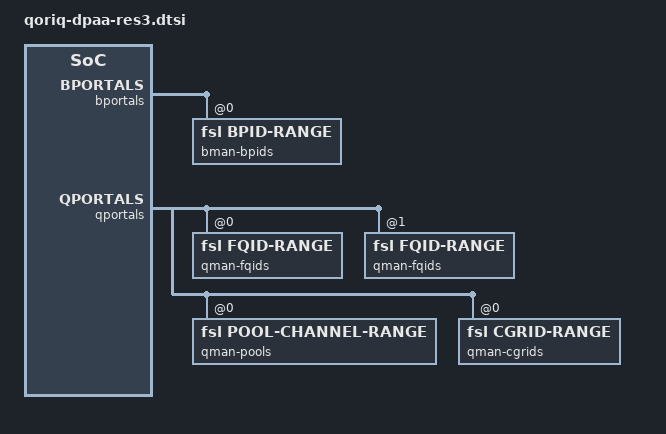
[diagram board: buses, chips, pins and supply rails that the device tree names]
/*
 * QorIQ DPAA resources device tree stub [ FQIDs, BPIDs ]
 *
 * Copyright 2011-2012 Freescale Semiconductor Inc.
 *
 * Redistribution and use in source and binary forms, with or without
 * modification, are permitted provided that the following conditions are met:
 *     * Redistributions of source code must retain the above copyright
 *	 notice, this list of conditions and the following disclaimer.
 *     * Redistributions in binary form must reproduce the above copyright
 *	 notice, this list of conditions and the following disclaimer in the
 *	 documentation and/or other materials provided with the distribution.
 *     * Neither the name of Freescale Semiconductor nor the
 *	 names of its contributors may be used to endorse or promote products
 *	 derived from this software without specific prior written permission.
 *
 *
 * ALTERNATIVELY, this software may be distributed under the terms of the
 * GNU General Public License ("GPL") as published by the Free Software
 * Foundation, either version 2 of that License or (at your option) any
 * later version.
 *
 * THIS SOFTWARE IS PROVIDED BY Freescale Semiconductor ``AS IS'' AND ANY
 * EXPRESS OR IMPLIED WARRANTIES, INCLUDING, BUT NOT LIMITED TO, THE IMPLIED
 * WARRANTIES OF MERCHANTABILITY AND FITNESS FOR A PARTICULAR PURPOSE ARE
 * DISCLAIMED. IN NO EVENT SHALL Freescale Semiconductor BE LIABLE FOR ANY
 * DIRECT, INDIRECT, INCIDENTAL, SPECIAL, EXEMPLARY, OR CONSEQUENTIAL DAMAGES
 * (INCLUDING, BUT NOT LIMITED TO, PROCUREMENT OF SUBSTITUTE GOODS OR SERVICES;
 * LOSS OF USE, DATA, OR PROFITS; OR BUSINESS INTERRUPTION) HOWEVER CAUSED AND
 * ON ANY THEORY OF LIABILITY, WHETHER IN CONTRACT, STRICT LIABILITY, OR TORT
 * (INCLUDING NEGLIGENCE OR OTHERWISE) ARISING IN ANY WAY OUT OF THE USE OF THIS
 * SOFTWARE, EVEN IF ADVISED OF THE POSSIBILITY OF SUCH DAMAGE.
 */

/* These stubs are required to alloc qbman drivers to determine what ranges of
 * resources are available for dynamic allocation, primarily because there are
 * some legacy "a priori" assumptions in certain subsystems (eg. networking)
 * that certain resources are reserved for their use. When those drivers (and in
 * some cases, their corresponding device-tree nodes) are updated to dynamically
 * allocate their resources, then *all* resources can be managed by the
 * allocators and there may be no further need to define these stubs.
 *
 * A couple of qualifiers to the above statement though:
 *
 * - Some resource ranges are hardware-specific, rather than being defined by
 *   software memory allocation choices. Eg. the number of available BPIDs is
 *   baked into silicon and so will probably always need to be expressed in the
 *   device-tree, though in that case it will express all BPIDs, not just those
 *   available for dynamic allocation.
 *
 * - Even for memory-backed resources that are software determined (FQIDs), this
 *   information may only be configured and available on the control-plane
 *   partition that manages the device, so in AMP or hypervised scenarios there
 *   may still be need to a way to provide allocation ranges. Ie. for O/S
 *   instances that don't know how many resources are available to hardware, and
 *   possibly even for O/S instances that do know how many are available but
 *   that should not "own" all of them.
 */

&bportals {
	bman-bpids@0 {
		compatible = "fsl,bpid-range";
		fsl,bpid-range = <32 32>;
	};
};

&qportals {
	qman-fqids@0 {
		compatible = "fsl,fqid-range";
		fsl,fqid-range = <256 512>;
	};
	qman-fqids@1 {
		compatible = "fsl,fqid-range";
		fsl,fqid-range = <32768 32768>;
	};
	qman-pools@0 {
		compatible = "fsl,pool-channel-range";
		fsl,pool-channel-range = <0x401 0xf>;
	};
	qman-cgrids@0 {
		compatible = "fsl,cgrid-range";
		fsl,cgrid-range = <0 256>;
	};
};
